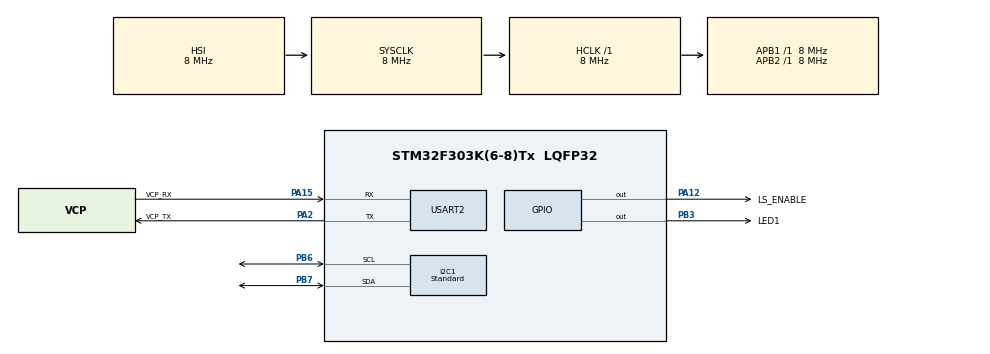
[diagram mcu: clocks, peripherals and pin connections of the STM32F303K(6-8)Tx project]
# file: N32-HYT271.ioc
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CRC.CRCLength=CRC_POLYLENGTH_8B
CRC.DefaultInitValueUse=DEFAULT_INIT_VALUE_DISABLE
CRC.DefaultPolynomialUse=DEFAULT_POLYNOMIAL_DISABLE
CRC.GeneratingPolynomial=X5+X4+X0
CRC.InitValue=0xFF
I2C1.Analog_Filter=I2C_ANALOGFILTER_ENABLE
I2C1.I2C_Fall_Time=0
I2C1.I2C_Rise_Time=0
I2C1.I2C_Speed_Mode=I2C_Standard
I2C1.NoStretchMode=I2C_NOSTRETCH_DISABLE
I2C1.Speed=100
I2C1.Timing=0x2000090E
Mcu.Family=STM32F3
Mcu.Name=STM32F303K(6-8)Tx
Mcu.Package=LQFP32
NVIC.PriorityGroup=NVIC_PRIORITYGROUP_4
NVIC.TIM2_IRQn=true\:0\:0\:false\:false\:true\:true\:true\:true
NVIC.USART2_IRQn=true\:0\:0\:false\:false\:true\:true\:true\:true
PA12.GPIO_Label=LS_ENABLE
PA12.PinState=GPIO_PIN_SET
PA12.Signal=GPIO_Output
PA13.GPIO_Label=SWDIO
PA13.Mode=Serial_Wire
PA13.Signal=SYS_JTMS-SWDIO
PA14.GPIO_Label=SWCLK
PA14.Mode=Serial_Wire
PA14.Signal=SYS_JTCK-SWCLK
PA15.GPIO_Label=VCP_RX
PA15.Mode=Asynchronous
PA15.Signal=USART2_RX
PA2.GPIO_Label=VCP_TX
PA2.Mode=Asynchronous
PA2.Signal=USART2_TX
PB3.GPIO_Label=LED1
PB3.GPIO_PuPd=GPIO_PULLDOWN
PB3.Signal=GPIO_Output
PB6.Mode=I2C
PB6.Signal=I2C1_SCL
PB7.Mode=I2C
PB7.Signal=I2C1_SDA
PF0\ /\ OSC_IN.GPIO_Label=MCO
PF0\ /\ OSC_IN.Mode=HSE-External-Clock-Source
PF0\ /\ OSC_IN.Signal=RCC_OSC_IN
ProjectManager.HeapSize=0x200
ProjectManager.StackSize=0x400
ProjectManager.TargetToolchain=STM32CubeIDE
RCC.AHBFreq_Value=8000000
RCC.APB1Freq_Value=8000000
RCC.APB2Freq_Value=8000000
RCC.CortexFreq_Value=8000000
RCC.HSE_VALUE=8000000
RCC.HSI_VALUE=8000000
RCC.SYSCLKFreq_VALUE=8000000
TIM2.Period=999999
TIM2.Prescaler=7
USART2.VirtualMode-Asynchronous=VM_ASYNC
VP_CRC_VS_CRC.Mode=CRC_Activate
VP_TIM2_VS_ClockSourceINT.Mode=Internal
board=NUCLEO-F303K8

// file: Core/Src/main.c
/* USER CODE BEGIN Header */
/**
  ******************************************************************************
  * @file           : main.c
  * @brief          : Main program body
  ******************************************************************************
  * @attention
  *
  * Copyright (c) 2025 STMicroelectronics.
  * All rights reserved.
  *
  * This software is licensed under terms that can be found in the LICENSE file
  * in the root directory of this software component.
  * If no LICENSE file comes with this software, it is provided AS-IS.
  *
  ******************************************************************************
  */
/* USER CODE END Header */
#include "main.h"

/* USER CODE BEGIN Includes */
#include "i2c_driver.h"
#include "PCA9548A.h"
//#include "SHT45_driver.h"
#include "serial_driver.h"
#include <string.h>
/* USER CODE END Includes */

CRC_HandleTypeDef hcrc;

I2C_HandleTypeDef hi2c1;

TIM_HandleTypeDef htim2;

UART_HandleTypeDef huart2;

/* USER CODE BEGIN PV */

I2Cdriver i2c_bus;		// Handle for the i2c bus for sensor communication
SHT45 sensors[4];		// Holds information on each of the four sensors

uint8_t uart_rx[32]; 	// Storage for incoming UART serial messages

// Control flags
uint8_t stream = 0;		// To stream or not
uint8_t scan = 0;		// To scan or not
uint8_t measure = 0;	// To measure or not

// Heater control variables
uint8_t heater = 0;				// Heater enable flag
float heater_active_pct = 99;	// Heater activation threshold [%]

/* USER CODE END PV */

void SystemClock_Config(void);
static void MX_GPIO_Init(void);
static void MX_I2C1_Init(void);
static void MX_USART2_UART_Init(void);
static void MX_TIM2_Init(void);
static void MX_CRC_Init(void);

/* USER CODE BEGIN 0 */

void measure_routine(){

	HAL_NVIC_DisableIRQ(TIM2_IRQn);

	for (uint8_t i = 0; i < i2c_bus.n_devices; i++) {
		// Read sensors one at a time
		set_switch_control(&i2c_bus, 1 << i); 		// choose sensor channel

		if(sensors[i].RH > heater_active_pct) {		// use heater or not
			if(heater) {
				read_SHT45(&sensors[i], &i2c_bus, &hcrc, HEAT_ON);
				HAL_GPIO_WritePin(GPIOB, GPIO_PIN_3, GPIO_PIN_SET);
			} else {
				read_SHT45(&sensors[i], &i2c_bus, &hcrc, HEAT_OFF);
				HAL_GPIO_WritePin(GPIOB, GPIO_PIN_3, GPIO_PIN_RESET);
			}
		} else {
			read_SHT45(&sensors[i], &i2c_bus, &hcrc, HEAT_OFF);
		}
	}

	if (stream) {
		//HAL_GPIO_TogglePin(GPIOB, GPIO_PIN_3); // Visual cue for streaming

		for (uint8_t i = 0; i < i2c_bus.n_devices;i++) {
			// Transmit sensor data one sensor at a time
			transmit_SHT45(&huart2, &sensors[i]);
		}
	}

	  data_transfer_concluded_message(&huart2);
	  measure = 0; //Reset control flag
  }

void HAL_TIM_PeriodElapsedCallback(TIM_HandleTypeDef *htim){
	// Once a second, set the measure control flag
	measure = 1;
}

/* USER CODE END 0 */

int main(void)
{

  /* MCU Configuration--------------------------------------------------------*/

  /* Reset of all peripherals, Initializes the Flash interface and the Systick. */
  HAL_Init();

  /* Configure the system clock */
  SystemClock_Config();

  /* Initialize all configured peripherals */
  MX_GPIO_Init();
  MX_I2C1_Init();
  MX_USART2_UART_Init();
  MX_TIM2_Init();
  MX_CRC_Init();
  /* USER CODE BEGIN 2 */
  HAL_UART_Receive_IT(&huart2, uart_rx, 4); // enable UART interrupt
  HAL_TIM_Base_Start_IT(&htim2);
  HAL_NVIC_DisableIRQ(TIM2_IRQn);

  //CRC check ( I think not in use)
  /*
  uint8_t crc_buffer[2] = {81, 23};
  uint8_t crc = HAL_CRC_Calculate(&hcrc, crc_buffer, 2);
  */

  i2c_bus.handle = &hi2c1; // i2c_bus setup

  // Scan i2c bus to identify sensors
  // I think we can leave out written out code for function call instead
  scan_i2c(&i2c_bus, sensors, &hcrc);

  /*
  for (uint8_t i = 0; i < 4; i++) {
		set_switch_control(&i2c_bus, 1 << i);
		if (HAL_I2C_IsDeviceReady(i2c_bus.handle, (uint16_t)(0x44 << 1), 3, 5) == HAL_OK) {
			sensors[i].address = 0x44;
			sensors[i].ID = i + 1;
			//sensors[i].SN = read_SHT45_SN(&i2c_bus, &hcrc);
			read_SHT45_SN(comm, sensors[i], hcrc); // Get serial number
			i2c_bus.n_devices++;
			i2c_bus.devices[i] = 0x44;

		}
	}
	*/

  /* USER CODE END 2 */

  /* Infinite loop */
  /* USER CODE BEGIN WHILE */
  while (1) {

	 	  if (scan) {
	       // scan flag is set by incoming UART message
	 		  HAL_NVIC_DisableIRQ(TIM2_IRQn); 		// Disable timer interrupt while scan takes place
	 		  scan_i2c(&i2c_bus, sensors, &hcrc);
	 		  broadcast_devices(&huart2, sensors);	// Transmit result of scan
	 		  scan = 0; 							// Reset control flag
	 	  }

	 	  if (stream) {
	 		  HAL_NVIC_EnableIRQ(TIM2_IRQn);		// Enable 1 second timer for data stream
	 	  } else {
	 		  HAL_NVIC_DisableIRQ(TIM2_IRQn);
	 	  }

	 	  if (measure) {
	 		  measure_routine();					// Do a measurement
	 	  }

    /* USER CODE END WHILE */

}

}

void SystemClock_Config(void)
{
  RCC_OscInitTypeDef RCC_OscInitStruct = {0};
  RCC_ClkInitTypeDef RCC_ClkInitStruct = {0};
  RCC_PeriphCLKInitTypeDef PeriphClkInit = {0};

  /** Initializes the RCC Oscillators according to the specified parameters
  * in the RCC_OscInitTypeDef structure.
  */
  RCC_OscInitStruct.OscillatorType = RCC_OSCILLATORTYPE_HSI;
  RCC_OscInitStruct.HSIState = RCC_HSI_ON;
  RCC_OscInitStruct.HSICalibrationValue = RCC_HSICALIBRATION_DEFAULT;
  RCC_OscInitStruct.PLL.PLLState = RCC_PLL_NONE;
  if (HAL_RCC_OscConfig(&RCC_OscInitStruct) != HAL_OK)
  {
    Error_Handler();
  }

  /** Initializes the CPU, AHB and APB buses clocks
  */
  RCC_ClkInitStruct.ClockType = RCC_CLOCKTYPE_HCLK|RCC_CLOCKTYPE_SYSCLK
                              |RCC_CLOCKTYPE_PCLK1|RCC_CLOCKTYPE_PCLK2;
  RCC_ClkInitStruct.SYSCLKSource = RCC_SYSCLKSOURCE_HSI;
  RCC_ClkInitStruct.AHBCLKDivider = RCC_SYSCLK_DIV1;
  RCC_ClkInitStruct.APB1CLKDivider = RCC_HCLK_DIV1;
  RCC_ClkInitStruct.APB2CLKDivider = RCC_HCLK_DIV1;

  if (HAL_RCC_ClockConfig(&RCC_ClkInitStruct, FLASH_LATENCY_0) != HAL_OK)
  {
    Error_Handler();
  }
  PeriphClkInit.PeriphClockSelection = RCC_PERIPHCLK_I2C1;
  PeriphClkInit.I2c1ClockSelection = RCC_I2C1CLKSOURCE_HSI;
  if (HAL_RCCEx_PeriphCLKConfig(&PeriphClkInit) != HAL_OK)
  {
    Error_Handler();
  }
}

static void MX_CRC_Init(void)
{

  hcrc.Instance = CRC;
  hcrc.Init.DefaultPolynomialUse = DEFAULT_POLYNOMIAL_DISABLE;
  hcrc.Init.DefaultInitValueUse = DEFAULT_INIT_VALUE_DISABLE;
  hcrc.Init.GeneratingPolynomial = 49;
  hcrc.Init.CRCLength = CRC_POLYLENGTH_8B;
  hcrc.Init.InitValue = 0xFF;
  hcrc.Init.InputDataInversionMode = CRC_INPUTDATA_INVERSION_NONE;
  hcrc.Init.OutputDataInversionMode = CRC_OUTPUTDATA_INVERSION_DISABLE;
  hcrc.InputDataFormat = CRC_INPUTDATA_FORMAT_BYTES;
  if (HAL_CRC_Init(&hcrc) != HAL_OK)
  {
    Error_Handler();
  }

}

static void MX_I2C1_Init(void)
{

  hi2c1.Instance = I2C1;
  hi2c1.Init.Timing = 0x2000090E;
  hi2c1.Init.OwnAddress1 = 0;
  hi2c1.Init.AddressingMode = I2C_ADDRESSINGMODE_7BIT;
  hi2c1.Init.DualAddressMode = I2C_DUALADDRESS_DISABLE;
  hi2c1.Init.OwnAddress2 = 0;
  hi2c1.Init.OwnAddress2Masks = I2C_OA2_NOMASK;
  hi2c1.Init.GeneralCallMode = I2C_GENERALCALL_DISABLE;
  hi2c1.Init.NoStretchMode = I2C_NOSTRETCH_DISABLE;
  if (HAL_I2C_Init(&hi2c1) != HAL_OK)
  {
    Error_Handler();
  }

  /** Configure Analogue filter
  */
  if (HAL_I2CEx_ConfigAnalogFilter(&hi2c1, I2C_ANALOGFILTER_ENABLE) != HAL_OK)
  {
    Error_Handler();
  }

  /** Configure Digital filter
  */
  if (HAL_I2CEx_ConfigDigitalFilter(&hi2c1, 0) != HAL_OK)
  {
    Error_Handler();
  }

}

static void MX_TIM2_Init(void)
{

  TIM_ClockConfigTypeDef sClockSourceConfig = {0};
  TIM_MasterConfigTypeDef sMasterConfig = {0};

  htim2.Instance = TIM2;
  htim2.Init.Prescaler = 7;
  htim2.Init.CounterMode = TIM_COUNTERMODE_UP;
  htim2.Init.Period = 999999;
  htim2.Init.ClockDivision = TIM_CLOCKDIVISION_DIV1;
  htim2.Init.AutoReloadPreload = TIM_AUTORELOAD_PRELOAD_DISABLE;
  if (HAL_TIM_Base_Init(&htim2) != HAL_OK)
  {
    Error_Handler();
  }
  sClockSourceConfig.ClockSource = TIM_CLOCKSOURCE_INTERNAL;
  if (HAL_TIM_ConfigClockSource(&htim2, &sClockSourceConfig) != HAL_OK)
  {
    Error_Handler();
  }
  sMasterConfig.MasterOutputTrigger = TIM_TRGO_RESET;
  sMasterConfig.MasterSlaveMode = TIM_MASTERSLAVEMODE_DISABLE;
  if (HAL_TIMEx_MasterConfigSynchronization(&htim2, &sMasterConfig) != HAL_OK)
  {
    Error_Handler();
  }

}

static void MX_USART2_UART_Init(void)
{

  huart2.Instance = USART2;
  huart2.Init.BaudRate = 38400;
  huart2.Init.WordLength = UART_WORDLENGTH_8B;
  huart2.Init.StopBits = UART_STOPBITS_1;
  huart2.Init.Parity = UART_PARITY_NONE;
  huart2.Init.Mode = UART_MODE_TX_RX;
  huart2.Init.HwFlowCtl = UART_HWCONTROL_NONE;
  huart2.Init.OverSampling = UART_OVERSAMPLING_16;
  huart2.Init.OneBitSampling = UART_ONE_BIT_SAMPLE_DISABLE;
  huart2.AdvancedInit.AdvFeatureInit = UART_ADVFEATURE_NO_INIT;
  if (HAL_UART_Init(&huart2) != HAL_OK)
  {
    Error_Handler();
  }

}

static void MX_GPIO_Init(void)
{
  GPIO_InitTypeDef GPIO_InitStruct = {0};

  /* GPIO Ports Clock Enable */
  __HAL_RCC_GPIOF_CLK_ENABLE();
  __HAL_RCC_GPIOA_CLK_ENABLE();
  __HAL_RCC_GPIOB_CLK_ENABLE();

  /*Configure GPIO pin Output Level */
  HAL_GPIO_WritePin(LS_ENABLE_GPIO_Port, LS_ENABLE_Pin, GPIO_PIN_SET);

  /*Configure GPIO pin Output Level */
  HAL_GPIO_WritePin(LED1_GPIO_Port, LED1_Pin, GPIO_PIN_RESET);

  /*Configure GPIO pin : LS_ENABLE_Pin */
  GPIO_InitStruct.Pin = LS_ENABLE_Pin;
  GPIO_InitStruct.Mode = GPIO_MODE_OUTPUT_PP;
  GPIO_InitStruct.Pull = GPIO_NOPULL;
  GPIO_InitStruct.Speed = GPIO_SPEED_FREQ_LOW;
  HAL_GPIO_Init(LS_ENABLE_GPIO_Port, &GPIO_InitStruct);

  /*Configure GPIO pin : LED1_Pin */
  GPIO_InitStruct.Pin = LED1_Pin;
  GPIO_InitStruct.Mode = GPIO_MODE_OUTPUT_PP;
  GPIO_InitStruct.Pull = GPIO_PULLDOWN;
  GPIO_InitStruct.Speed = GPIO_SPEED_FREQ_LOW;
  HAL_GPIO_Init(LED1_GPIO_Port, &GPIO_InitStruct);

}

void Error_Handler(void)
{
	   __disable_irq();
	   while (1)
	   {
	   }
}
